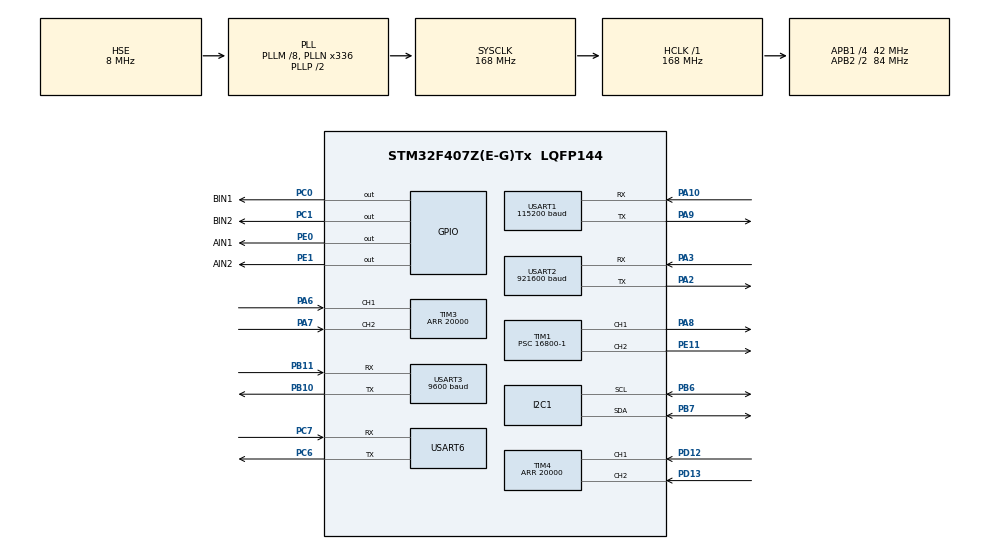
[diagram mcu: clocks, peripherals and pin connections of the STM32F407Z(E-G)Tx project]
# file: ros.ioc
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Dma.Request0=USART2_RX
Dma.Request1=USART2_TX
Dma.USART2_RX.0.Direction=DMA_PERIPH_TO_MEMORY
Dma.USART2_RX.0.FIFOMode=DMA_FIFOMODE_DISABLE
Dma.USART2_RX.0.Instance=DMA1_Stream5
Dma.USART2_RX.0.MemDataAlignment=DMA_MDATAALIGN_BYTE
Dma.USART2_RX.0.MemInc=DMA_MINC_ENABLE
Dma.USART2_RX.0.Mode=DMA_CIRCULAR
Dma.USART2_RX.0.PeriphDataAlignment=DMA_PDATAALIGN_BYTE
Dma.USART2_RX.0.PeriphInc=DMA_PINC_DISABLE
Dma.USART2_RX.0.Priority=DMA_PRIORITY_VERY_HIGH
Dma.USART2_TX.1.Direction=DMA_MEMORY_TO_PERIPH
Dma.USART2_TX.1.FIFOMode=DMA_FIFOMODE_DISABLE
Dma.USART2_TX.1.Instance=DMA1_Stream6
Dma.USART2_TX.1.MemDataAlignment=DMA_MDATAALIGN_BYTE
Dma.USART2_TX.1.MemInc=DMA_MINC_ENABLE
Dma.USART2_TX.1.Mode=DMA_NORMAL
Dma.USART2_TX.1.PeriphDataAlignment=DMA_PDATAALIGN_BYTE
Dma.USART2_TX.1.PeriphInc=DMA_PINC_DISABLE
Dma.USART2_TX.1.Priority=DMA_PRIORITY_VERY_HIGH
FREERTOS.Tasks01=defaultTask,24,4096,StartDefaultTask,Default,NULL,Static,defaultTaskBuffer,defaultTaskControlBlock;imuTask,24,256,StartImuTask,Default,NULL,Static,imuTaskBuffer,imuTaskControlBlock;motorTask,24,256,StartMotorTask,Default,NULL,Static,motorTaskBuffer,motorTaskControlBlock;oledTask,24,128,StartOledTask,Default,NULL,Static,oledTaskBuffer,oledTaskControlBlock
FREERTOS.configTOTAL_HEAP_SIZE=20000
Mcu.Family=STM32F4
Mcu.Name=STM32F407Z(E-G)Tx
Mcu.Package=LQFP144
NVIC.DMA1_Stream5_IRQn=true\:5\:0\:false\:false\:true\:true\:false\:true\:true
NVIC.DMA1_Stream6_IRQn=true\:5\:0\:false\:false\:true\:true\:false\:true\:true
NVIC.PriorityGroup=NVIC_PRIORITYGROUP_4
NVIC.TIM2_IRQn=true\:6\:0\:true\:false\:true\:true\:true\:true\:true
NVIC.TIM3_IRQn=true\:5\:0\:true\:false\:true\:true\:true\:true\:true
NVIC.TIM4_IRQn=true\:5\:0\:false\:false\:true\:true\:true\:true\:true
NVIC.TIM8_TRG_COM_TIM14_IRQn=true\:15\:0\:false\:false\:true\:false\:false\:true\:true
NVIC.TimeBase=TIM8_TRG_COM_TIM14_IRQn
NVIC.TimeBaseIP=TIM14
NVIC.USART1_IRQn=true\:5\:0\:false\:false\:true\:true\:true\:true\:true
NVIC.USART2_IRQn=true\:5\:0\:false\:false\:true\:true\:true\:true\:true
NVIC.USART3_IRQn=true\:5\:0\:false\:false\:true\:true\:true\:true\:true
NVIC.USART6_IRQn=true\:5\:0\:false\:false\:true\:true\:true\:true\:true
PA10.Mode=Asynchronous
PA10.Signal=USART1_RX
PA13.Mode=Serial_Wire
PA13.Signal=SYS_JTMS-SWDIO
PA14.Mode=Serial_Wire
PA14.Signal=SYS_JTCK-SWCLK
PA2.Mode=Asynchronous
PA2.Signal=USART2_TX
PA3.Mode=Asynchronous
PA3.Signal=USART2_RX
PA6.GPIO_PuPd=GPIO_PULLUP
PA6.Signal=S_TIM3_CH1
PA7.GPIO_PuPd=GPIO_PULLUP
PA7.Signal=S_TIM3_CH2
PA8.Signal=S_TIM1_CH1
PA9.Mode=Asynchronous
PA9.Signal=USART1_TX
PB10.Mode=Asynchronous
PB10.Signal=USART3_TX
PB11.Mode=Asynchronous
PB11.Signal=USART3_RX
PB6.Mode=I2C
PB6.Signal=I2C1_SCL
PB7.Mode=I2C
PB7.Signal=I2C1_SDA
PC0.GPIO_Label=BIN1
PC0.Signal=GPIO_Output
PC1.GPIO_Label=BIN2
PC1.Signal=GPIO_Output
PC6.Mode=Asynchronous
PC6.Signal=USART6_TX
PC7.Mode=Asynchronous
PC7.Signal=USART6_RX
PD12.GPIO_PuPd=GPIO_PULLUP
PD12.Signal=S_TIM4_CH1
PD13.GPIO_PuPd=GPIO_PULLUP
PD13.Signal=S_TIM4_CH2
PE0.GPIO_Label=AIN1
PE0.Signal=GPIO_Output
PE1.GPIO_Label=AIN2
PE1.Signal=GPIO_Output
PE11.Signal=S_TIM1_CH2
PH0-OSC_IN.Mode=HSE-External-Oscillator
PH0-OSC_IN.Signal=RCC_OSC_IN
PH1-OSC_OUT.Mode=HSE-External-Oscillator
PH1-OSC_OUT.Signal=RCC_OSC_OUT
ProjectManager.HeapSize=0x200
ProjectManager.StackSize=0x400
ProjectManager.TargetToolchain=STM32CubeIDE
RCC.48MHZClocksFreq_Value=84000000
RCC.AHBFreq_Value=168000000
RCC.APB1CLKDivider=RCC_HCLK_DIV4
RCC.APB1Freq_Value=42000000
RCC.APB1TimFreq_Value=84000000
RCC.APB2CLKDivider=RCC_HCLK_DIV2
RCC.APB2Freq_Value=84000000
RCC.APB2TimFreq_Value=168000000
RCC.CortexFreq_Value=168000000
RCC.HCLKFreq_Value=168000000
RCC.HSE_VALUE=8000000
RCC.HSI_VALUE=16000000
RCC.LSE_VALUE=32768
RCC.PLLM=8
RCC.PLLN=336
RCC.PLLSourceVirtual=RCC_PLLSOURCE_HSE
RCC.SYSCLKFreq_VALUE=168000000
RCC.SYSCLKSource=RCC_SYSCLKSOURCE_PLLCLK
RCC.VCOOutputFreq_Value=336000000
SH.S_TIM1_CH1.0=TIM1_CH1,PWM Generation1 CH1
SH.S_TIM1_CH2.0=TIM1_CH2,PWM Generation2 CH2
SH.S_TIM3_CH1.0=TIM3_CH1,Encoder_Interface
SH.S_TIM3_CH2.0=TIM3_CH2,Encoder_Interface
SH.S_TIM4_CH1.0=TIM4_CH1,Encoder_Interface
SH.S_TIM4_CH2.0=TIM4_CH2,Encoder_Interface
TIM1.Channel-PWM\ Generation1\ CH1=TIM_CHANNEL_1
TIM1.Channel-PWM\ Generation2\ CH2=TIM_CHANNEL_2
TIM1.Period=100-1
TIM1.Prescaler=16800-1
TIM2.Period=5000-1
TIM2.Prescaler=1680-1
TIM3.EncoderMode=TIM_ENCODERMODE_TI12
TIM3.Period=20000
TIM4.EncoderMode=TIM_ENCODERMODE_TI12
TIM4.Period=20000
USART1.BaudRate=115200
USART1.VirtualMode=VM_ASYNC
USART2.BaudRate=921600
USART2.VirtualMode=VM_ASYNC
USART3.BaudRate=9600
USART3.VirtualMode=VM_ASYNC
USART6.VirtualMode=VM_ASYNC
VP_FREERTOS_VS_CMSIS_V2.Mode=CMSIS_V2
VP_SYS_VS_tim14.Mode=TIM14
VP_TIM2_VS_ClockSourceINT.Mode=Internal
board=custom

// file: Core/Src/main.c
/* USER CODE BEGIN Header */
/**
  ******************************************************************************
  * @file           : main.c
  * @brief          : Main program body
  ******************************************************************************
  * @attention
  *
  * Copyright (c) 2024 STMicroelectronics.
  * All rights reserved.
  *
  * This software is licensed under terms that can be found in the LICENSE file
  * in the root directory of this software component.
  * If no LICENSE file comes with this software, it is provided AS-IS.
  *
  ******************************************************************************
  */
/* USER CODE END Header */
#include "main.h"
#include "cmsis_os.h"
#include "dma.h"
#include "i2c.h"
#include "tim.h"
#include "usart.h"
#include "gpio.h"

/* USER CODE BEGIN Includes */
#include <oled/oled.h>
#include <JY61P/jy61p.h>
#include <encoder/encoder.h>
#include <Kinematics/Kinematics.h>
#include <comm/comm.h>
/* USER CODE END Includes */

/* USER CODE BEGIN PTD */
extern int start_sign;
/* USER CODE END PTD */

void SystemClock_Config(void);
void MX_FREERTOS_Init(void);

int main(void)
{

  /* MCU Configuration--------------------------------------------------------*/

  /* Reset of all peripherals, Initializes the Flash interface and the Systick. */
  HAL_Init();

  /* Configure the system clock */
  SystemClock_Config();

  /* Initialize all configured peripherals */
  MX_GPIO_Init();
  MX_DMA_Init();
  MX_USART2_UART_Init();
  MX_USART1_UART_Init();
  MX_TIM1_Init();
  MX_I2C1_Init();
  MX_USART3_UART_Init();
  MX_TIM3_Init();
  MX_TIM4_Init();
  MX_TIM2_Init();
  MX_USART6_UART_Init();
  /* USER CODE BEGIN 2 */
  HAL_UART_Receive_IT(&huart1,(uint8_t *)aRxBuffer, 1);
  HAL_UART_Receive_IT(&huart3,&rx_buff1,1);
//  HAL_UART_Receive_IT(&huart6,&rx_buff1,1);
  HAL_TIM_PWM_Start(&htim1,TIM_CHANNEL_1);	//使能TIM1-1		左AIN
  HAL_TIM_PWM_Start(&htim1,TIM_CHANNEL_2);	//使能TIM1-2		右BIN
  Encoder_Init();

  OLED_Init();          //OLED初始	SDA-PB7  SCL-PB6
  OLED_Clear();

  /* USER CODE END 2 */

  /* Init scheduler */
  osKernelInitialize();

  /* Call init function for freertos objects (in cmsis_os2.c) */
  MX_FREERTOS_Init();

  /* Start scheduler */
  osKernelStart();

  /* We should never get here as control is now taken by the scheduler */

  /* Infinite loop */
  while (1)
  {

  }
}

void SystemClock_Config(void)
{
  RCC_OscInitTypeDef RCC_OscInitStruct = {0};
  RCC_ClkInitTypeDef RCC_ClkInitStruct = {0};

  /** Configure the main internal regulator output voltage
  */
  __HAL_RCC_PWR_CLK_ENABLE();
  __HAL_PWR_VOLTAGESCALING_CONFIG(PWR_REGULATOR_VOLTAGE_SCALE1);

  /** Initializes the RCC Oscillators according to the specified parameters
  * in the RCC_OscInitTypeDef structure.
  */
  RCC_OscInitStruct.OscillatorType = RCC_OSCILLATORTYPE_HSE;
  RCC_OscInitStruct.HSEState = RCC_HSE_ON;
  RCC_OscInitStruct.PLL.PLLState = RCC_PLL_ON;
  RCC_OscInitStruct.PLL.PLLSource = RCC_PLLSOURCE_HSE;
  RCC_OscInitStruct.PLL.PLLM = 8;
  RCC_OscInitStruct.PLL.PLLN = 336;
  RCC_OscInitStruct.PLL.PLLP = RCC_PLLP_DIV2;
  RCC_OscInitStruct.PLL.PLLQ = 4;
  if (HAL_RCC_OscConfig(&RCC_OscInitStruct) != HAL_OK)
  {
    Error_Handler();
  }

  /** Initializes the CPU, AHB and APB buses clocks
  */
  RCC_ClkInitStruct.ClockType = RCC_CLOCKTYPE_HCLK|RCC_CLOCKTYPE_SYSCLK
                              |RCC_CLOCKTYPE_PCLK1|RCC_CLOCKTYPE_PCLK2;
  RCC_ClkInitStruct.SYSCLKSource = RCC_SYSCLKSOURCE_PLLCLK;
  RCC_ClkInitStruct.AHBCLKDivider = RCC_SYSCLK_DIV1;
  RCC_ClkInitStruct.APB1CLKDivider = RCC_HCLK_DIV4;
  RCC_ClkInitStruct.APB2CLKDivider = RCC_HCLK_DIV2;

  if (HAL_RCC_ClockConfig(&RCC_ClkInitStruct, FLASH_LATENCY_5) != HAL_OK)
  {
    Error_Handler();
  }
}

void HAL_TIM_PeriodElapsedCallback(TIM_HandleTypeDef *htim)
{
  if (htim->Instance == TIM14) {
    HAL_IncTick();
  }
  /* USER CODE BEGIN Callback 1 */
  else if(htim->Instance==ENCODER_1_TIM.Instance) {//编码器输入定时器溢出中断
	  if(COUNTERNUM_1 < 10000) motor1.overflowNum++;       //如果是向上溢�????????????
	  else if(COUNTERNUM_1 >= 10000) motor1.overflowNum--; //如果是向下溢�????????????
	  __HAL_TIM_SetCounter(&ENCODER_1_TIM, 10000);             //重新设定初始�????????????
  }

  else if(htim->Instance==ENCODER_2_TIM.Instance) {//编码器输入定时器溢出中断
	  int a = COUNTERNUM_2;
	  if(COUNTERNUM_2 < 10000) motor2.overflowNum++;       //如果是向上溢�????????????
	  else if(COUNTERNUM_2 >= 10000) motor2.overflowNum--; //如果是向下溢�????????????
	  __HAL_TIM_SetCounter(&ENCODER_2_TIM, 10000);             //重新设定初始�????????????
  }

  else if(htim->Instance==GAP_TIM.Instance) {
	motor1.direct = __HAL_TIM_IS_TIM_COUNTING_DOWN(&ENCODER_1_TIM);
	motor2.direct = __HAL_TIM_IS_TIM_COUNTING_DOWN(&ENCODER_2_TIM);

	motor1.totalCount = COUNTERNUM_1 + motor1.overflowNum * RELOADVALUE_1;//�???????????个周期内的�?�计数�?�等于目前计数�?�加上溢出的计数�???????????
	motor2.totalCount = COUNTERNUM_2 + motor2.overflowNum * RELOADVALUE_2;//�???????????个周期内的�?�计数�?�等于目前计数�?�加上溢出的计数�???????????

//	if(motor1.totalCount >= 10000) motor1.totalCount -= 10000;
//	else if(motor1.totalCount <= -10000) motor1.totalCount += 10000;
//
//	if(motor2.totalCount >= 10000) motor2.totalCount -= 10000;
//	else if(motor2.totalCount <= -10000) motor2.totalCount += 10000;

	motor1.speed = -(float)(motor1.totalCount - motor1.lastCount) * 3.14159 * 0.54 / 1320;
	motor2.speed = (float)(motor2.totalCount - motor2.lastCount)  * 3.14159 * 0.54 / 1320;
	// 脉冲数量*定时时间(hz)*轮胎长度/4倍频/单圈脉冲(11)/减�?�比    单位 r/s   轮胎半径2.7cm
	// * 20 * (3.1416 * 2.7 * 0.01)/ 4 / 11 / 30 = * 3.1416 * 0.27 / 1320

	if(motor1.speed >= 1.0 || motor1.speed <= -1.0)
		motor1.speed = motor1.last_speed;
	else	motor1.last_speed = motor1.speed;

	if(motor2.speed >= 1.0 || motor2.speed <= -1.0)
		motor2.speed = motor2.last_speed;
	else	motor2.last_speed = motor2.speed;

	motor1.lastCount = motor1.totalCount; //记录这一次的计数�???????????
	motor2.lastCount = motor2.totalCount; //记录这一次的计数�???????????

	if(start_sign)	update_bot_odom();
  }
  /* USER CODE END Callback 1 */
}

void Error_Handler(void)
{
  __disable_irq();
  while (1)
  {
  }
}

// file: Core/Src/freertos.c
/* USER CODE BEGIN Header */
/**
  ******************************************************************************
  * File Name          : freertos.c
  * Description        : Code for freertos applications
  ******************************************************************************
  * @attention
  *
  * Copyright (c) 2024 STMicroelectronics.
  * All rights reserved.
  *
  * This software is licensed under terms that can be found in the LICENSE file
  * in the root directory of this software component.
  * If no LICENSE file comes with this software, it is provided AS-IS.
  *
  ******************************************************************************
  */
/* USER CODE END Header */

#include "FreeRTOS.h"
#include "task.h"
#include "main.h"
#include "cmsis_os.h"

/* USER CODE BEGIN Includes */
#include "usart.h"
#include <motor/motor.h>				//电机
#include <oled/oled.h>					//oled显示�????????
#include <JY61P/jy61p.h>				//jy61p姿�?�测�????????
#include <encoder/encoder.h>			//编码�????????
#include <Robotic_arm/robotic_arm.h>	//机械�????????
#include <Kinematics/Kinematics.h>		//odom里程计测�????????
#include <comm/comm.h>

#include <rcl/rcl.h>
#include <rcl/error_handling.h>
#include <rclc/rclc.h>
#include <rclc/executor.h>
#include <uxr/client/transport.h>
#include <rmw_microxrcedds_c/config.h>
#include <rmw_microros/rmw_microros.h>
#include <micro_ros_utilities/type_utilities.h>
#include <micro_ros_utilities/string_utilities.h>

#include <std_msgs/msg/int32.h>
#include <std_msgs/msg/float32.h>
#include <std_msgs/msg/string.h>
#include <geometry_msgs/msg/twist.h>
#include <std_msgs/msg/detail/header__struct.h>
#include <nav_msgs/msg/detail/odometry__struct.h>
/* USER CODE END Includes */

typedef StaticTask_t osStaticThreadDef_t;
/* USER CODE BEGIN PTD */
typedef struct PID {
		float  Kp;         //  Proportional Const  P系数
		float  Ki;           //  Integral Const      I系数
		float  Kd;         //  Derivative Const    D系数

		float  PrevError ;          //  Error[-2]
		float  LastError;          //  Error[-1]
		float  Error;              //  Error[0 ]
		float  DError;            //pid->Error - pid->LastError
		float  SumError;           //  Sums of Errors

		float  output;

		float  Integralmax;      //积分项的�????????大�??
		float  outputmax;        //输出项的�????????大�??
} PID;
/* USER CODE END PTD */

/* USER CODE BEGIN PD */
#define RCCHECK(fn) { rcl_ret_t temp_rc = fn; if((temp_rc != RCL_RET_OK)){printf("Failed status on line %d: %d. Aborting.\n",__LINE__,(int)temp_rc);vTaskDelete(NULL);}}
#define RCSOFTCHECK(fn) { rcl_ret_t temp_rc = fn; if((temp_rc != RCL_RET_OK)){printf("Failed status on line %d: %d. Continuing.\n",__LINE__,(int)temp_rc);}}
/* USER CODE END PD */

/* USER CODE BEGIN PM */
char en1[20];
char en2[20];
extern int start_sign = 0;
int oled_begin_flag = 0;
#define STRING_LEN 200
#define pi 3.14159
/* USER CODE END PM */

/* USER CODE BEGIN Variables */
rclc_support_t support;
rcl_allocator_t allocator;
rcl_node_t node;

rcl_publisher_t hx_publisher;//测试�????????
std_msgs__msg__Int32  hx_send_msg;
rcl_subscription_t hx_subscriber;
rclc_executor_t hx_executor;
std_msgs__msg__Int32 hx_get_msg;

rcl_publisher_t imu_publisher;//imu数据
std_msgs__msg__String imu_send_msg;
char string_memory[STRING_LEN];

rcl_publisher_t arm_publisher;//机械臂控�????????
std_msgs__msg__String  arm_send_msg;
rcl_subscription_t arm_subscriber;
rclc_executor_t arm_executor;
std_msgs__msg__String arm_get_msg;
char arm_getdata[100];

rcl_subscription_t cmd_subscriber;//键盘控制
rclc_executor_t cmd_executor;
geometry_msgs__msg__Twist cmd_get_msg;
rcl_publisher_t odom_publisher;   // 用于发布机器人的里程计信息（Odom�????????
nav_msgs__msg__Odometry odom_msg; // 机器人的里程计信�????????

int cmd_getFlag = 0;
float ratio = 0.4f ;   //转换比例，执行�?�度调整比例48.78f
float D = 0.205f ;    //两轮间距，单位是m 0.205f
float linear_temp=0,angular_temp=0;
float left_speed=0,right_speed=0;
float left_output=0,right_output=0;
PID speedpid_1,speedpid_2;

/* USER CODE END Variables */
/* Definitions for defaultTask */
osThreadId_t defaultTaskHandle;
uint32_t defaultTaskBuffer[ 4096 ];
osStaticThreadDef_t defaultTaskControlBlock;
const osThreadAttr_t defaultTask_attributes = {
  .name = "defaultTask",
  .cb_mem = &defaultTaskControlBlock,
  .cb_size = sizeof(defaultTaskControlBlock),
  .stack_mem = &defaultTaskBuffer[0],
  .stack_size = sizeof(defaultTaskBuffer),
  .priority = (osPriority_t) osPriorityNormal,
};
/* Definitions for imuTask */
osThreadId_t imuTaskHandle;
uint32_t imuTaskBuffer[ 256 ];
osStaticThreadDef_t imuTaskControlBlock;
const osThreadAttr_t imuTask_attributes = {
  .name = "imuTask",
  .cb_mem = &imuTaskControlBlock,
  .cb_size = sizeof(imuTaskControlBlock),
  .stack_mem = &imuTaskBuffer[0],
  .stack_size = sizeof(imuTaskBuffer),
  .priority = (osPriority_t) osPriorityNormal,
};
/* Definitions for motorTask */
osThreadId_t motorTaskHandle;
uint32_t motorTaskBuffer[ 256 ];
osStaticThreadDef_t motorTaskControlBlock;
const osThreadAttr_t motorTask_attributes = {
  .name = "motorTask",
  .cb_mem = &motorTaskControlBlock,
  .cb_size = sizeof(motorTaskControlBlock),
  .stack_mem = &motorTaskBuffer[0],
  .stack_size = sizeof(motorTaskBuffer),
  .priority = (osPriority_t) osPriorityNormal,
};
/* Definitions for oledTask */
osThreadId_t oledTaskHandle;
uint32_t oledTaskBuffer[ 128 ];
osStaticThreadDef_t oledTaskControlBlock;
const osThreadAttr_t oledTask_attributes = {
  .name = "oledTask",
  .cb_mem = &oledTaskControlBlock,
  .cb_size = sizeof(oledTaskControlBlock),
  .stack_mem = &oledTaskBuffer[0],
  .stack_size = sizeof(oledTaskBuffer),
  .priority = (osPriority_t) osPriorityNormal,
};

/* USER CODE BEGIN FunctionPrototypes */
bool cubemx_transport_open(struct uxrCustomTransport * transport);
bool cubemx_transport_close(struct uxrCustomTransport * transport);
size_t cubemx_transport_write(struct uxrCustomTransport* transport, const uint8_t * buf, size_t len, uint8_t * err);
size_t cubemx_transport_read(struct uxrCustomTransport* transport, uint8_t* buf, size_t len, int timeout, uint8_t* err);

void * microros_allocate(size_t size, void * state);
void microros_deallocate(void * pointer, void * state);
void * microros_reallocate(void * pointer, size_t size, void * state);
void * microros_zero_allocate(size_t number_of_elements, size_t size_of_element, void * state);

void micro_ros_init(void);
void hx_ros_init(void);
void imu_ros_init(void);
void arm_ros_init(void);
void cmd_ros_init(void);
void odom_getandsend(void);

void PID_oled(void);//oled PID测试
void speed_oled(void);
void odom_oled(void);//oled 里程计测�????????

float PID_Incremental_Calc(PID *pid, float Target_val, float Actual_val)
{
	pid->Error = Target_val- Actual_val;

	pid->output  +=  pid->Kp* ( pid->Error - pid->LastError )+
					 pid->Ki* pid->Error +
					 pid->Kd* ( pid->Error +  pid->PrevError - 2*pid->LastError);

	pid->PrevError = pid->LastError;
	pid->LastError = pid->Error;

	if(pid->output > pid->outputmax )    pid->output = pid->outputmax;
	if(pid->output < - pid->outputmax )  pid->output = -pid->outputmax;

	return pid->output ;   //输出为pwm�????????
}

//PID初始�????????
void PID_Init(PID *pid, float Kp , float Ki , float Kd , float Limit_value)
{
	pid->Kp= Kp;
	pid->Ki= Ki;
	pid->Kd= Kd;

	pid->PrevError =pid->LastError = pid->Error =pid->SumError= pid->output =  0;
	pid->Integralmax = pid->outputmax  = Limit_value;
}

#include "stdio.h"
#define PUTCHAR_PROTOTYPE int __io_putchar(int ch)

PUTCHAR_PROTOTYPE
{
    HAL_UART_Transmit(&huart1 , (uint8_t *)&ch, 1, 0xFFFF);
    return ch;
}

void Uart6_SendStr(char*SendBuf)//串口6打印数据(这个无法发�??0x00)
{
	while(*SendBuf)
	{
	  while((USART6->SR&0X40)==0);//等待发�?�完�??????????
    USART6->DR = (unsigned char) *SendBuf;
		SendBuf++;
	}
}
// Implementation example:
void subscription_callback(const void * msgin)
{
  // Cast received message to used type
  const std_msgs__msg__Int32 * msg = (const std_msgs__msg__Int32 *)msgin;
//  printf("msg Received: %d\r\n", hx_get_msg.data);
}

void subscription_callback_arm(const void * msgin)//机械臂控�??????????
{
  // Cast received message to used type
  const std_msgs__msg__String * msg = (const std_msgs__msg__String *)msgin;
//  printf("arm Received: %s\r\n",arm_getdata);
}

void subscription_callback_cmd(const void * msgin)//键盘控制
{
  // Cast received message to used type
  const geometry_msgs__msg__Twist * msg = (const geometry_msgs__msg__Twist *)msgin;
  cmd_getFlag = 1;
//  printf("\r\nlinear:  x: %lf\r\n"
//		     "         y: %lf\r\n"
//			 "         z: %lf\r\n", cmd_get_msg.linear.x
//								  , cmd_get_msg.linear.y
//								  , cmd_get_msg.linear.z);
//  printf("\r\nangular: x: %lf\r\n"
//			 "         y: %lf\r\n"
//		  	 "         z: %lf\r\n", cmd_get_msg.angular.x
//								  , cmd_get_msg.angular.y
//								  , cmd_get_msg.angular.z);
}
/* USER CODE END FunctionPrototypes */

void StartDefaultTask(void *argument);
void StartImuTask(void *argument);
void StartMotorTask(void *argument);
void StartOledTask(void *argument);

void MX_FREERTOS_Init(void); /* (MISRA C 2004 rule 8.1) */

void MX_FREERTOS_Init(void) {

  /* Create the thread(s) */
  /* creation of defaultTask */
  defaultTaskHandle = osThreadNew(StartDefaultTask, NULL, &defaultTask_attributes);

  /* creation of imuTask */
  imuTaskHandle = osThreadNew(StartImuTask, NULL, &imuTask_attributes);

  /* creation of motorTask */
  motorTaskHandle = osThreadNew(StartMotorTask, NULL, &motorTask_attributes);

  /* creation of oledTask */
  oledTaskHandle = osThreadNew(StartOledTask, NULL, &oledTask_attributes);

}

void StartDefaultTask(void *argument)
{
  /* USER CODE BEGIN StartDefaultTask */

//	Uart6_SendStr("{#000P1500T1000!#001P1300T1000!#002P1020T1000!#003P1100T1000!#004P1500T1000!}");//机械臂初始位�??????????
	micro_ros_init();

	// micro-ROS app
	hx_ros_init();//测试�??????????
	imu_ros_init();
	arm_ros_init();
	cmd_ros_init();

	Uart6_SendStr("{#000P1500T1000!#001P2500T1000!#002P0500T1000!#003P0800T1000!#004P1500T1000!}");
	start_sign = 1;
	for(;;)
	{
		if (!rmw_uros_epoch_synchronized()){
			rmw_uros_sync_session(100);
			// 如果时间同步成功，则将当前时间设置为MicroROS代理的时间，并输出调试信息�??
//			delay(10);
		}
		//test
//		RCSOFTCHECK(rcl_publish(&hx_publisher, &hx_send_msg, NULL));//测试�??????????
//		hx_send_msg.data++;

		//imu
		sprintf(imu_send_msg.data.data, "'\n'acc: %f/%f/%f"
									    "'\n'gyr: %f/%f/%f"
									    "'\n'ang: %f/%f/%f", acc_x, acc_y, acc_z
														   , gyro_x, gyro_y, gyro_z
														   , angle_x, angle_y, angle_z);
		imu_send_msg.data.size = strlen(imu_send_msg.data.data);
		RCSOFTCHECK(rcl_publish(&imu_publisher, &imu_send_msg, NULL));

		//odom
		odom_getandsend();

//		rclc_executor_spin_some(&hx_executor, RCL_MS_TO_NS(10));
		rclc_executor_spin_some(&arm_executor, RCL_MS_TO_NS(10));
		rclc_executor_spin_some(&cmd_executor, RCL_MS_TO_NS(10));
	}
  /* USER CODE END StartDefaultTask */
}

void StartImuTask(void *argument)
{
  /* USER CODE BEGIN StartImuTask */
  KDRobot kd;
  float kp_get,ki_get,kd_get;
  char pMem[] = {0x00,0x00,0x00,0x00};
  /* Infinite loop */
  for(;;)
  {
	get_data();//JY61P获取数据
	if(arm_getdata[0] != '\0'){
		Uart6_SendStr(arm_getdata);
		memset(arm_getdata, 0, sizeof(arm_getdata));
	}
	HAL_UART_Transmit(&huart1, KDCOM_SetData(&kd, 0, motor1.speed * 100, left_speed * 100), sizeof(KDRobot), 10);
	HAL_UART_Transmit(&huart1, KDCOM_SetData(&kd, 1, motor2.speed * 100, right_speed * 100), sizeof(KDRobot), 10);

	if(USART_RX_STA >= 10){
		if(USART_RX_BUF[0] == 'C'){
			pMem[0] = USART_RX_BUF[5];
			pMem[1] = USART_RX_BUF[6];
			pMem[2] = USART_RX_BUF[7];
			pMem[3] = USART_RX_BUF[8];
			if(USART_RX_BUF[3] == 0){
				switch(USART_RX_BUF[1]){
					case 1:
						speedpid_1.Kp = *(float *)pMem;
						break;
					case 2:
						speedpid_1.Ki = *(float *)pMem;
						break;
					case 3:
						speedpid_1.Kd = *(float *)pMem;
						break;
				}
			}
			else if(USART_RX_BUF[3] == 1){
				switch(USART_RX_BUF[1]){
					case 1:
						speedpid_2.Kp = *(float *)pMem;
						break;
					case 2:
						speedpid_2.Ki = *(float *)pMem;
						break;
					case 3:
						speedpid_2.Kd = *(float *)pMem;
						break;
				}
			}
		}
		memset(USART_RX_BUF, 0, 40);
		USART_RX_STA = 0;
	}
    osDelay(10);
  }
  /* USER CODE END StartImuTask */
}

void StartMotorTask(void *argument)
{
  /* USER CODE BEGIN StartMotorTask */
  /* Infinite loop */
  int nomsg = 0;
  for(;;)
  {
	  if(cmd_getFlag == 1){
		  angular_temp = cmd_get_msg.angular.z ; //获取/cmd_vel的角速度,rad/s
		  linear_temp = cmd_get_msg.linear.x ;   //获取/cmd_vel的线速度.m/s
		  //将转换好的小车�?�度分量为左右轮速度
		  left_speed = (linear_temp - 0.5f*angular_temp*D)*ratio ;//运动学�?�解
		  right_speed = (linear_temp + 0.5f*angular_temp*D)*ratio ;

		  if(left_speed > 0.6)			left_speed = 0.6;
		  else if(left_speed < -0.6)	left_speed = -0.6;
		  if(right_speed > 0.6)		right_speed = 0.6;
		  else if(right_speed < -0.6)	right_speed = -0.6;

	      left_output = PID_Incremental_Calc(&speedpid_1, left_speed, motor1.speed);
	      right_output = PID_Incremental_Calc(&speedpid_2, right_speed, motor2.speed);

		  left_motor_control(left_output);
		  right_motor_control(right_output);

//		  left_motor_control(left_output);
//		  right_motor_control(right_output);

		  nomsg = 0;
		  cmd_getFlag = 0;
	  }
	  else{
		  nomsg ++;
		  if(nomsg >= 100){
			  left_output = left_speed = right_output = right_speed = 0;
			  left_motor_control(0);
			  right_motor_control(0);
		  }
	  }

    osDelay(5);
  }
  /* USER CODE END StartMotorTask */
}

void StartOledTask(void *argument)
{
  /* USER CODE BEGIN StartOledTask */
  /* Infinite loop */
  for(;;)
  {
	  if(start_sign == 1){
		  PID_oled();
//		  speed_oled();
//		  odom_oled();
	  }
    osDelay(100);
  }
  /* USER CODE END StartOledTask */
}

/* USER CODE BEGIN Application */
void micro_ros_init(void){
	 printf("hello mirco_ros\r\n");
		  rmw_uros_set_custom_transport(
		    true,
		    (void *) &huart2,
		    cubemx_transport_open,
		    cubemx_transport_close,
		    cubemx_transport_write,
		    cubemx_transport_read);

		  rcl_allocator_t freeRTOS_allocator = rcutils_get_zero_initialized_allocator();
		  freeRTOS_allocator.allocate = microros_allocate;
		  freeRTOS_allocator.deallocate = microros_deallocate;
		  freeRTOS_allocator.reallocate = microros_reallocate;
		  freeRTOS_allocator.zero_allocate =  microros_zero_allocate;

		  if (!rcutils_set_default_allocator(&freeRTOS_allocator)) {
		      printf("Error on default allocators (line %d)\n", __LINE__);
		  }

		  allocator = rcl_get_default_allocator();

		  //create init_options
		  rclc_support_init(&support, 0, NULL, &allocator);

		  // create node
		  rclc_node_init_default(&node, "cubemx_node", "", &support);
}

void hx_ros_init(void){
	// create publisher
	rclc_publisher_init_default(
	&hx_publisher,
	&node,
	ROSIDL_GET_MSG_TYPE_SUPPORT(std_msgs, msg, Int32),
	"cubemx_publisher");
	hx_send_msg.data = 0;

	const char * subscriber_name = "hx_topic";
	// Initialize a reliable subscriber
	rcl_ret_t rc = rclc_subscription_init_default(
	  &hx_subscriber, &node,
	  ROSIDL_GET_MSG_TYPE_SUPPORT(std_msgs, msg, Int32), subscriber_name);
	if (RCL_RET_OK != rc) {
		 printf("Error subscription_init (line %d) (ret %d)\r\n", __LINE__,rc);
		 while(1){
			 NVIC_SystemReset();
			 osDelay(200);
		 }
	}
	RCCHECK(rclc_executor_init(&hx_executor, &support.context, 1, &allocator));
	RCCHECK(rclc_executor_add_subscription(&hx_executor, &hx_subscriber, &hx_get_msg, &subscription_callback, ON_NEW_DATA));
}

void imu_ros_init(void){
	imu_send_msg.data.data = &string_memory[0];
	imu_send_msg.data.size = 0;
	imu_send_msg.data.capacity = STRING_LEN;

	// create publisher
	rclc_publisher_init_default(
	&imu_publisher,
	&node,
	ROSIDL_GET_MSG_TYPE_SUPPORT(std_msgs, msg, String),
	"imu_publisher");
}

void arm_ros_init(void){
	arm_get_msg.data.data = &arm_getdata[0];
	arm_get_msg.data.size = 0;
	arm_get_msg.data.capacity = 100;

	const char * arm_subscriber_name = "arm_topic";
	// Initialize a reliable subscriber
	rcl_ret_t rc_arm = rclc_subscription_init_default(
	  &arm_subscriber, &node,
	  ROSIDL_GET_MSG_TYPE_SUPPORT(std_msgs, msg, String), arm_subscriber_name);
	if (RCL_RET_OK != rc_arm) {
		 printf("Error subscription_init (line %d) (ret %d)\n", __LINE__,rc_arm);
		 while(1){
			 osDelay(200);
		 }
	}
	RCCHECK(rclc_executor_init(&arm_executor, &support.context, 1, &allocator));
	RCCHECK(rclc_executor_add_subscription(&arm_executor, &arm_subscriber, &arm_get_msg, &subscription_callback_arm, ON_NEW_DATA));

}

void cmd_ros_init(void){
	odom_msg.header.frame_id = micro_ros_string_utilities_set(odom_msg.header.frame_id, "odom");
	odom_msg.child_frame_id = micro_ros_string_utilities_set(odom_msg.child_frame_id, "base_link");

	// create publisher
	rclc_publisher_init_default(
	&odom_publisher,
	&node,
	ROSIDL_GET_MSG_TYPE_SUPPORT(nav_msgs, msg, Odometry),
	"odom");

	const char * cmd_subscriber_name = "cmd_vel";
	// Initialize a reliable subscriber
	rcl_ret_t rc_cmd = rclc_subscription_init_default(
	  &cmd_subscriber, &node,
	  ROSIDL_GET_MSG_TYPE_SUPPORT(geometry_msgs, msg, Twist), cmd_subscriber_name);
	if (RCL_RET_OK != rc_cmd) {
		 printf("Error subscription_init (line %d) (ret %d)\n", __LINE__,rc_cmd);
		 while(1){
			 osDelay(200);
		 }
	}
	RCCHECK(rclc_executor_init(&cmd_executor, &support.context, 1, &allocator));
	RCCHECK(rclc_executor_add_subscription(&cmd_executor, &cmd_subscriber, &cmd_get_msg, &subscription_callback_cmd, ON_NEW_DATA));

	PID_Init(&speedpid_1, 49, 31, 0, 100);//P I D left
	PID_Init(&speedpid_2, 49, 31, 0, 100);//P I D right
}

unsigned long previousMillis = 0; // 上一次打印的时间
unsigned long interval = 50;      // 间隔时间，单位为毫秒
void odom_getandsend(void){
    // 用于获取当前的时间戳，并将其存储在消息的头部�????????
    int64_t stamp = rmw_uros_epoch_millis();
    // 获取机器人的位置和�?�度信息，并将其存储在一个ROS消息（odom_msg）中
    odom_t odom = *get_odom();
    odom_msg.header.stamp.sec = (int32_t)(stamp / 1000); // 秒部�????????
    odom_msg.header.stamp.nanosec = (uint32_t)((stamp % 1000) * 1000000); // 纳秒部分
    odom_msg.pose.pose.position.x = odom.x;
    odom_msg.pose.pose.position.y = odom.y;
    odom_msg.pose.pose.orientation.w = odom.quaternion.w;
    odom_msg.pose.pose.orientation.x = odom.quaternion.x;
    odom_msg.pose.pose.orientation.y = odom.quaternion.y;
    odom_msg.pose.pose.orientation.z = odom.quaternion.z;

    odom_msg.twist.twist.angular.z = odom.angular_speed;
    odom_msg.twist.twist.linear.x = odom.linear_speed;

    rcl_publish(&odom_publisher, &odom_msg, NULL);
}

void PID_oled(void){
	if(oled_begin_flag == 0){
		OLED_ShowString(0, 0, "PID_1", 16, 0);
		OLED_ShowString(0, 2, "P:", 16, 0);
		OLED_ShowString(0, 4, "I:", 16, 0);
		OLED_ShowString(0, 6, "D:", 16, 0);

		OLED_ShowString(70, 0, "PID_2", 16, 0);
		OLED_ShowString(70, 2, "P:", 16, 0);
		OLED_ShowString(70, 4, "I:", 16, 0);
		OLED_ShowString(70, 6, "D:", 16, 0);
		oled_begin_flag = 1;
	}

	 OLED_Showdecimal(20, 2, speedpid_1.Kp, 3, 1, 16, 0);
	 OLED_Showdecimal(20, 4, speedpid_1.Ki, 3, 1, 16, 0);
	 OLED_Showdecimal(20, 6, speedpid_1.Kd, 3, 1, 16, 0);

	 OLED_Showdecimal(90, 2, speedpid_2.Kp, 3, 1, 16, 0);
	 OLED_Showdecimal(90, 4, speedpid_2.Ki, 3, 1, 16, 0);
	 OLED_Showdecimal(90, 6, speedpid_2.Kd, 3, 1, 16, 0);
//	if(motor1.speed >= 0){
//	  OLED_ShowChar(0, 2, ' ', 16, 0);
//	  OLED_Showdecimal(10, 2, motor1.speed, 1, 4, 16, 0);
//	}else{
//	  OLED_ShowChar(0, 2, '-', 16, 0);
//	  OLED_Showdecimal(10, 2, -motor1.speed, 1, 4, 16, 0);
//	}
//	if(left_speed >= 0){
//	  OLED_ShowChar(0, 4, ' ', 16, 0);
//	  OLED_Showdecimal(10, 4, left_speed, 1, 4, 16, 0);
//	}else{
//	  OLED_ShowChar(0, 4, '-', 16, 0);
//	  OLED_Showdecimal(10, 4, -left_speed, 1, 4, 16, 0);
//	}
//	if(left_output >= 0){
//	  OLED_ShowChar(0, 6, ' ', 16, 0);
//	  OLED_Showdecimal(10, 6, left_output, 2, 3, 16, 0);
//	}else{
//	  OLED_ShowChar(0, 6, '-', 16, 0);
//	  OLED_Showdecimal(10, 6, -left_output, 2, 3, 16, 0);
//	}
//
//
//	if(motor2.speed >= 0){
//	  OLED_ShowChar(70, 2, ' ', 16, 0);
//	  OLED_Showdecimal(80, 2, motor2.speed, 1, 4, 16, 0);
//	}else{
//	  OLED_ShowChar(70, 2, '-', 16, 0);
//	  OLED_Showdecimal(80, 2, -motor2.speed, 1, 4, 16, 0);
//	}
//	if(right_speed >= 0){
//	  OLED_ShowChar(70, 4, ' ', 16, 0);
//	  OLED_Showdecimal(80, 4, right_speed, 1, 4, 16, 0);
//	}else{
//	  OLED_ShowChar(70, 4, '-', 16, 0);
//	  OLED_Showdecimal(80, 4, -right_speed, 1, 4, 16, 0);
//	}
//	if(right_output >= 0){
//	  OLED_ShowChar(70, 6, ' ', 16, 0);
//	  OLED_Showdecimal(80, 6, right_output, 2, 3, 16, 0);
//	}else{
//	  OLED_ShowChar(70, 6, '-', 16, 0);
//	  OLED_Showdecimal(80, 6, -right_output, 2, 3, 16, 0);
//	}
}

void speed_oled(void){
	if(oled_begin_flag == 0){
		OLED_ShowString(0, 0, "ltime:", 16, 0);
		OLED_ShowString(70, 0, "rtime:", 16, 0);
		oled_begin_flag = 1;
	}

	OLED_ShowNum(0, 2, motor1.lastCount - motor1.totalCount, 5, 16, 0);
	if(motor1.speed >= 0){
	  OLED_ShowChar(0, 4, ' ', 16, 0);
	  OLED_Showdecimal(10, 4, motor1.speed, 2, 3, 16, 0);
	}else{
	  OLED_ShowChar(0, 4, '-', 16, 0);
	  OLED_Showdecimal(10, 4, -motor1.speed, 2, 3, 16, 0);
	}

	OLED_ShowNum(70, 2, motor2.totalCount - motor2.lastCount, 5, 16, 0);
	if(motor2.speed >= 0){
	  OLED_ShowChar(70, 4, ' ', 16, 0);
	  OLED_Showdecimal(80, 4, motor2.speed, 2, 3, 16, 0);
	}else{
	  OLED_ShowChar(70, 4, '-', 16, 0);
	  OLED_Showdecimal(80, 4, -motor2.speed, 2, 3, 16, 0);
	}
}

void odom_oled(void){
	if(oled_begin_flag == 0){
		OLED_ShowString(0, 0, "linear:", 16, 0);
		OLED_ShowString(70, 0, "angle :", 16, 0);
		oled_begin_flag = 1;
	}

	if(line_speed >= 0){
	  OLED_ShowChar(0, 2, ' ', 16, 0);
	  OLED_Showdecimal(10, 2, line_speed, 1, 4, 16, 0);
	}else{
	  OLED_ShowChar(0, 2, '-', 16, 0);
	  OLED_Showdecimal(10, 2, -line_speed, 1, 4, 16, 0);
	}

	if(angle_speed >= 0){
	  OLED_ShowChar(70, 2, ' ', 16, 0);
	  OLED_Showdecimal(80, 2, angle_speed, 2, 3, 16, 0);
	}else{
	  OLED_ShowChar(70, 2, '-', 16, 0);
	  OLED_Showdecimal(80, 2, -angle_speed, 2, 3, 16, 0);
	}
}
/* USER CODE END Application */
